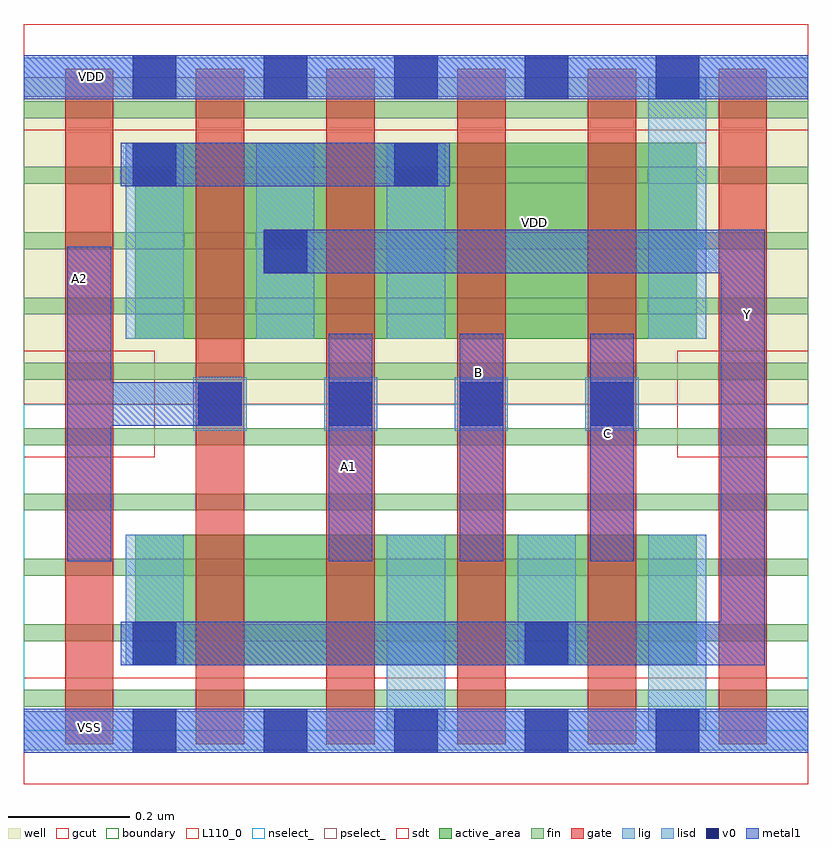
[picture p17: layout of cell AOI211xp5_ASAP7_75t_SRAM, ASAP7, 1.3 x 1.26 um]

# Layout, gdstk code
import gdstk
lib = gdstk.Library(unit=1e-6, precision=2.5e-10)
def R(c, l, rs):  # rectangles x0, y0, x1, y1
    for r in rs: c.add(gdstk.rectangle(r[:2], r[2:], *l))
def A(c, l, x, y, w, h, nx, ny, dx, dy):  # array of equal rectangles
    R(c, l, [(x+i*dx, y+j*dy, x+i*dx+w, y+j*dy+h) for i in range(nx) for j in range(ny)])
def P(c, l, *ps):  # polygons
    for p in ps: c.add(gdstk.Polygon(p, *l))
well = (1, 0)
fin = (2, 0)
gate = (7, 0)
gcut = (10, 0)
active_area = (11, 0)
nselect_ = (12, 0)
pselect_ = (13, 0)
lig = (16, 0)
lisd = (17, 0)
v0 = (18, 0)
metal1 = (19, 0)
sdt = (88, 0)
boundary = (100, 0)
L110_0 = (110, 0)

aoi211xp5_asap7_75t_sram = lib.new_cell('AOI211xp5_ASAP7_75t_SRAM')
R(aoi211xp5_asap7_75t_sram, well, [(0,0.54,1.296,1.08)])
A(aoi211xp5_asap7_75t_sram, fin, 0, 0.04, 1.296, 0.028, 1, 10, 0, 0.108)
A(aoi211xp5_asap7_75t_sram, gate, 0.068, -0.022, 0.08, 1.116, 6, 1, 0.216, 0)
R(aoi211xp5_asap7_75t_sram, gcut, [(0,-0.088,1.296,0.088), (0,0.452,0.216,0.628), (1.08,0.452,1.296,0.628), (0,0.992,1.296,1.168)])
R(aoi211xp5_asap7_75t_sram, active_area, [(0.184,0.108,1.112,0.324), (0.184,0.648,1.112,0.972)])
R(aoi211xp5_asap7_75t_sram, nselect_, [(0,0,1.296,0.54)])
R(aoi211xp5_asap7_75t_sram, pselect_, [(0,0.54,1.296,1.08)])
A(aoi211xp5_asap7_75t_sram, lig, 0.28, 0.496, 0.088, 0.088, 4, 1, 0.216, 0)
R(aoi211xp5_asap7_75t_sram, lig, [(0,-0.032,1.296,0.032), (0,1.048,1.296,1.112)])
A(aoi211xp5_asap7_75t_sram, lisd, 0.168, 0.648, 0.096, 0.324, 3, 1, 0.216, 0)
R(aoi211xp5_asap7_75t_sram, lisd, [(0.6,0,0.696,0.324), (1.032,0,1.128,0.324), (0.168,0.108,0.264,0.324), (0.816,0.108,0.912,0.324), (1.032,0.648,1.128,1.08)])
A(aoi211xp5_asap7_75t_sram, v0, 0.18, -0.036, 0.072, 0.072, 5, 2, 0.216, 1.08)
A(aoi211xp5_asap7_75t_sram, v0, 0.288, 0.504, 0.072, 0.072, 4, 1, 0.216, 0)
R(aoi211xp5_asap7_75t_sram, v0, [(0.18,0.108,0.252,0.18), (0.828,0.108,0.9,0.18), (0.396,0.756,0.468,0.828), (0.18,0.9,0.252,0.972), (0.612,0.9,0.684,0.972)])
A(aoi211xp5_asap7_75t_sram, metal1, 0.504, 0.28, 0.072, 0.376, 3, 1, 0.216, 0)
R(aoi211xp5_asap7_75t_sram, metal1, [(0,-0.036,1.296,0.036), (0.16,0.9,0.704,0.972), (0,1.044,1.296,1.116)])
P(aoi211xp5_asap7_75t_sram, metal1, [(0.36,0.504),(0.144,0.504),(0.144,0.28),(0.072,0.28),(0.072,0.8),(0.144,0.8),(0.144,0.576),(0.36,0.576)],
  [(1.224,0.108),(0.16,0.108),(0.16,0.18),(1.152,0.18),(1.152,0.756),(0.396,0.756),(0.396,0.828),(1.224,0.828)])
A(aoi211xp5_asap7_75t_sram, sdt, 0.6, 0.108, 0.096, 0.216, 3, 1, 0.216, 0)
A(aoi211xp5_asap7_75t_sram, sdt, 0.168, 0.648, 0.096, 0.324, 3, 1, 0.216, 0)
R(aoi211xp5_asap7_75t_sram, sdt, [(0.168,0.108,0.264,0.324), (1.032,0.648,1.128,0.972)])
R(aoi211xp5_asap7_75t_sram, boundary, [(0,0,1.296,1.08)])
R(aoi211xp5_asap7_75t_sram, L110_0, [(0,0,1.296,1.08)])
aoi211xp5_asap7_75t_sram.add(gdstk.Label('VSS', (0.952,-0.228), layer=3, texttype=251))
aoi211xp5_asap7_75t_sram.add(gdstk.Label('VDD', (0.844,0.84), layer=1, texttype=251))
aoi211xp5_asap7_75t_sram.add(gdstk.Label('A2', (0.092,0.748), layer=19, texttype=251))
aoi211xp5_asap7_75t_sram.add(gdstk.Label('C', (0.964,0.492), layer=19, texttype=251))
aoi211xp5_asap7_75t_sram.add(gdstk.Label('B', (0.752,0.592), layer=19, texttype=251))
aoi211xp5_asap7_75t_sram.add(gdstk.Label('A1', (0.536,0.436), layer=19, texttype=251))
aoi211xp5_asap7_75t_sram.add(gdstk.Label('VDD', (0.112,1.082), layer=19, texttype=251))
aoi211xp5_asap7_75t_sram.add(gdstk.Label('VSS', (0.108,0.006), layer=19, texttype=251))
aoi211xp5_asap7_75t_sram.add(gdstk.Label('Y', (1.196,0.688), layer=19, texttype=251))

lib.write_gds('AOI211xp5_ASAP7_75t_SRAM.gds')
